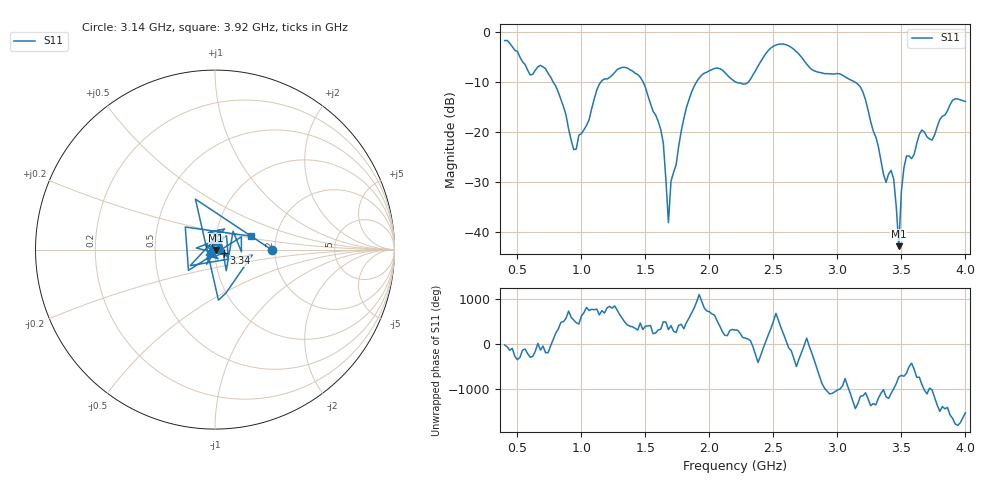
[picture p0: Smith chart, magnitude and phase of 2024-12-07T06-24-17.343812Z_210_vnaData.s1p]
!Created with skrf (http://scikit-rf.org).
# Hz S RI R 50.0
!freq ReS11 ImS11
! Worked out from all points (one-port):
!   181 points, 400 MHz to 4 GHz, reference 50 ohm
!   lowest |S11| = -42.9 dB at 3.48 GHz (marker M1), VSWR 1.01, Z = 50.7 - j0.203 ohm
!   |S11| at or under -10 dB: 779.5 MHz to 1.152 GHz (372.6 MHz wide, 38.6 % of centre); 1.482 GHz to 1.898 GHz (416.3 MHz wide, 24.6 % of centre); 3.137 GHz to end of sweep (the widest 3 of 4)
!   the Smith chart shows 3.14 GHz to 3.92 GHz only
!   S11 on the Smith chart (normalised r, x): 3.14 GHz: 1.92, -0.00; 3.34 GHz: 1.10, -0.04; 3.92 GHz: 1.48, +0.23
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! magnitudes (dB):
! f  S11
! 400 MHz  -1.7
! 600 MHz  -8.6
! 720 MHz  -7.3
! 860 MHz  -14.9
! 960 MHz  -23.4
! 1.14 GHz  -10.4
! 1.3 GHz  -7.2
! 1.46 GHz  -9.0
! 1.6 GHz  -17.9
! 1.64 GHz  -22.3
! 1.68 GHz  -38.2
! 1.7 GHz  -29.9
! 1.76 GHz  -22.9
! 1.84 GHz  -13.6
! 1.94 GHz  -8.6
! 2.2 GHz  -9.9
! 2.66 GHz  -3.4
! 3.1 GHz  -9.5
! 3.14 GHz  -10.0
! 3.34 GHz  -25.7
! 3.38 GHz  -30.1
! 3.44 GHz  -29.5
! 3.48 GHz  -42.9
! 3.5 GHz  -31.8
! 3.52 GHz  -27.1
! 3.56 GHz  -24.8
! 3.92 GHz  -13.4
! 4 GHz  -13.9
